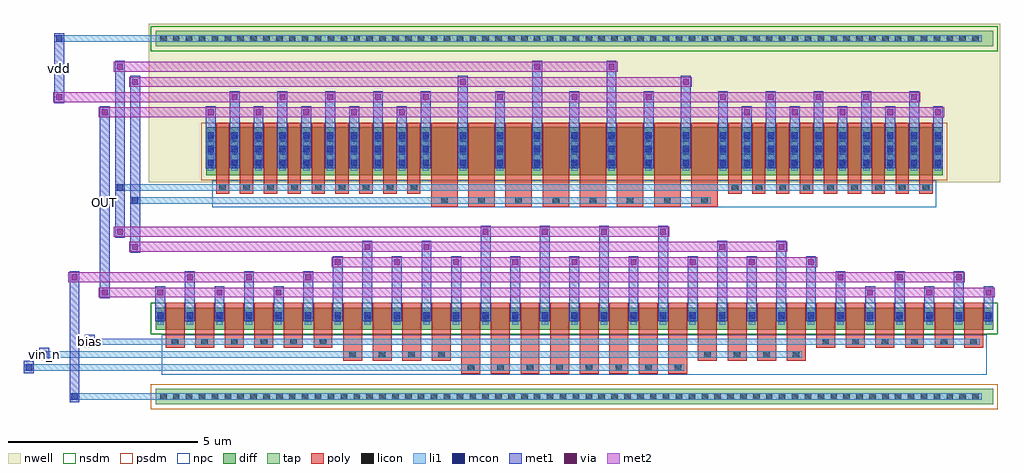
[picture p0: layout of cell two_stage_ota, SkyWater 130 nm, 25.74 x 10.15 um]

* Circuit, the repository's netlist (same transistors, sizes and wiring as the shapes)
* two_stage_ota -- hand design (2026-11-07) for LVS. Devices from two_stage_ota_design_for_layout.json:
* W = m * w_s (fingers merged in parallel by the LVS netlist simplify), body nmos = gnd, pmos = vdd.
* Cc and Rz are not in this layout pass (see two_stage_ota_gds_drc_lvs.md), so they are not in this netlist.
.SUBCKT two_stage_ota vdd gnd vin_n vin_p OUT bias
M1 D3 vin_n CS gnd sky130_fd_pr__nfet_01v8 w=4.64u l=0.5u
M2 O1 vin_p CS gnd sky130_fd_pr__nfet_01v8 w=4.64u l=0.5u
M5 CS bias gnd gnd sky130_fd_pr__nfet_01v8 w=1.16u l=0.5u
M7 OUT bias gnd gnd sky130_fd_pr__nfet_01v8 w=5.8u l=0.5u
M3 D3 D3 vdd vdd sky130_fd_pr__pfet_01v8 w=5.04u l=0.7u
M4 O1 D3 vdd vdd sky130_fd_pr__pfet_01v8 w=5.04u l=0.7u
M6 OUT O1 vdd vdd sky130_fd_pr__pfet_01v8 w=22.68u l=0.35u
.ENDS

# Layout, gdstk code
import gdstk
lib = gdstk.Library(unit=1e-6, precision=1e-09)
def R(c, l, rs):  # rectangles x0, y0, x1, y1
    for r in rs: c.add(gdstk.rectangle(r[:2], r[2:], *l))
def A(c, l, x, y, w, h, nx, ny, dx, dy):  # array of equal rectangles
    R(c, l, [(x+i*dx, y+j*dy, x+i*dx+w, y+j*dy+h) for i in range(nx) for j in range(ny)])
nwell = (64, 20)
diff = (65, 20)
tap = (65, 44)
poly = (66, 20)
licon = (66, 44)
li1 = (67, 20)
mcon = (67, 44)
met1 = (68, 20)
via = (68, 44)
met2 = (69, 20)
nsdm = (93, 44)
psdm = (94, 20)
npc = (95, 20)

two_stage_ota = lib.new_cell('two_stage_ota')
R(two_stage_ota, nwell, [(-0.18,5.86,22.27,10.03)])
R(two_stage_ota, diff, [(0,1.97,22.09,2.55), (1.33,6.04,20.76,7.3)])
R(two_stage_ota, tap, [(0,0,22.09,0.41), (0,9.44,22.09,9.85)])
A(two_stage_ota, poly, 8.065, 0.805, 0.5, 1.875, 8, 1, 0.78, 0)
A(two_stage_ota, poly, 4.945, 1.145, 0.5, 1.535, 4, 1, 0.78, 0)
A(two_stage_ota, poly, 14.305, 1.145, 0.5, 1.535, 4, 1, 0.78, 0)
A(two_stage_ota, poly, 0.265, 1.485, 0.5, 1.195, 6, 1, 0.78, 0)
A(two_stage_ota, poly, 17.425, 1.485, 0.5, 1.195, 6, 1, 0.78, 0)
A(two_stage_ota, poly, 7.265, 5.215, 0.7, 2.215, 8, 1, 0.98, 0)
A(two_stage_ota, poly, 1.595, 5.555, 0.35, 1.875, 9, 1, 0.63, 0)
A(two_stage_ota, poly, 15.105, 5.555, 0.35, 1.875, 9, 1, 0.63, 0)
A(two_stage_ota, licon, 0.12, 0.12, 0.17, 0.17, 64, 2, 0.34, 9.44)
A(two_stage_ota, licon, 8.23, 0.885, 0.17, 0.17, 8, 1, 0.78, 0)
A(two_stage_ota, licon, 5.11, 1.225, 0.17, 0.17, 4, 1, 0.78, 0)
A(two_stage_ota, licon, 14.47, 1.225, 0.17, 0.17, 4, 1, 0.78, 0)
A(two_stage_ota, licon, 0.43, 1.565, 0.17, 0.17, 6, 1, 0.78, 0)
A(two_stage_ota, licon, 17.59, 1.565, 0.17, 0.17, 6, 1, 0.78, 0)
A(two_stage_ota, licon, 0.04, 2.175, 0.17, 0.17, 29, 1, 0.78, 0)
A(two_stage_ota, licon, 7.53, 5.295, 0.17, 0.17, 8, 1, 0.98, 0)
A(two_stage_ota, licon, 1.685, 5.635, 0.17, 0.17, 9, 1, 0.63, 0)
A(two_stage_ota, licon, 15.195, 5.635, 0.17, 0.17, 9, 1, 0.63, 0)
A(two_stage_ota, licon, 1.37, 6.245, 0.17, 0.17, 10, 3, 0.63, 0.34)
A(two_stage_ota, licon, 8.02, 6.245, 0.17, 0.17, 8, 3, 0.98, 0.34)
A(two_stage_ota, licon, 15.51, 6.245, 0.17, 0.17, 9, 3, 0.63, 0.34)
A(two_stage_ota, li1, 0.04, 2.095, 0.17, 0.33, 29, 1, 0.78, 0)
A(two_stage_ota, li1, 1.37, 6.165, 0.17, 1.01, 10, 1, 0.63, 0)
A(two_stage_ota, li1, 8.02, 6.165, 0.17, 1.01, 8, 1, 0.98, 0)
A(two_stage_ota, li1, 15.51, 6.165, 0.17, 1.01, 9, 1, 0.63, 0)
R(two_stage_ota, li1, [(-2.27,0.12,21.79,0.29), (-3.47,0.885,13.94,1.055), (-3.07,1.225,17.06,1.395), (-1.87,1.565,21.74,1.735), (-0.67,5.295,14.64,5.465), (-1.07,5.635,20.485,5.805), (-2.67,9.56,21.79,9.73)])
A(two_stage_ota, mcon, 0.04, 2.255, 0.17, 0.17, 29, 1, 0.78, 0)
A(two_stage_ota, mcon, 1.37, 6.285, 0.17, 0.17, 10, 3, 0.63, 0.36)
A(two_stage_ota, mcon, 8.02, 6.285, 0.17, 0.17, 8, 3, 0.98, 0.36)
A(two_stage_ota, mcon, 15.51, 6.285, 0.17, 0.17, 9, 3, 0.63, 0.36)
R(two_stage_ota, mcon, [(-2.225,0.12,-2.055,0.29), (-3.425,0.885,-3.255,1.055), (-3.025,1.225,-2.855,1.395), (-1.825,1.565,-1.655,1.735), (-0.625,5.295,-0.455,5.465), (-1.025,5.635,-0.855,5.805), (-2.625,9.56,-2.455,9.73)])
A(two_stage_ota, met1, -0.005, 2.195, 0.26, 0.915, 3, 1, 1.56, 0)
A(two_stage_ota, met1, 0.775, 2.195, 0.26, 1.315, 3, 1, 1.56, 0)
A(two_stage_ota, met1, 4.675, 2.195, 0.26, 1.715, 9, 1, 1.56, 0)
A(two_stage_ota, met1, 8.575, 2.195, 0.26, 2.515, 4, 1, 1.56, 0)
A(two_stage_ota, met1, 17.935, 2.195, 0.26, 1.315, 3, 1, 1.56, 0)
A(two_stage_ota, met1, 18.715, 2.195, 0.26, 0.915, 3, 1, 1.56, 0)
A(two_stage_ota, met1, 1.325, 6.225, 0.26, 1.635, 5, 1, 1.26, 0)
A(two_stage_ota, met1, 1.955, 6.225, 0.26, 2.035, 5, 1, 1.26, 0)
A(two_stage_ota, met1, 8.955, 6.225, 0.26, 2.035, 4, 1, 1.96, 0)
A(two_stage_ota, met1, 15.465, 6.225, 0.26, 1.635, 5, 1, 1.26, 0)
A(two_stage_ota, met1, 16.095, 6.225, 0.26, 2.035, 4, 1, 1.26, 0)
R(two_stage_ota, met1, [(-2.27,0.06,-2.01,3.51), (-3.47,0.825,-3.21,1.15), (-3.07,1.165,-2.81,1.49), (-1.87,1.505,-1.61,1.83), (5.455,2.195,5.715,4.31), (7.015,2.195,7.275,4.31), (14.815,2.195,15.075,4.31), (16.375,2.195,16.635,4.31), (-1.47,2.79,-1.21,7.86), (-0.67,3.99,-0.41,8.66), (-1.07,4.39,-0.81,9.06), (7.975,6.225,8.235,8.66), (9.935,6.225,10.195,9.06), (11.895,6.225,12.155,9.06), (13.855,6.225,14.115,8.66), (-2.67,7.94,-2.41,9.79)])
A(two_stage_ota, via, 0.05, 2.875, 0.15, 0.15, 3, 1, 1.56, 0)
A(two_stage_ota, via, 18.77, 2.875, 0.15, 0.15, 3, 1, 1.56, 0)
A(two_stage_ota, via, 0.83, 3.275, 0.15, 0.15, 3, 1, 1.56, 0)
A(two_stage_ota, via, 17.99, 3.275, 0.15, 0.15, 3, 1, 1.56, 0)
A(two_stage_ota, via, 4.73, 3.675, 0.15, 0.15, 9, 1, 1.56, 0)
A(two_stage_ota, via, 8.63, 4.475, 0.15, 0.15, 4, 1, 1.56, 0)
A(two_stage_ota, via, 1.38, 7.625, 0.15, 0.15, 5, 1, 1.26, 0)
A(two_stage_ota, via, 15.52, 7.625, 0.15, 0.15, 5, 1, 1.26, 0)
A(two_stage_ota, via, 2.01, 8.025, 0.15, 0.15, 5, 1, 1.26, 0)
A(two_stage_ota, via, 9.01, 8.025, 0.15, 0.15, 4, 1, 1.96, 0)
A(two_stage_ota, via, 16.15, 8.025, 0.15, 0.15, 4, 1, 1.26, 0)
R(two_stage_ota, via, [(-1.415,2.875,-1.265,3.025), (-2.215,3.275,-2.065,3.425), (-0.615,4.075,-0.465,4.225), (5.51,4.075,5.66,4.225), (7.07,4.075,7.22,4.225), (14.87,4.075,15.02,4.225), (16.43,4.075,16.58,4.225), (-1.015,4.475,-0.865,4.625), (-1.415,7.625,-1.265,7.775), (-2.615,8.025,-2.465,8.175), (-0.615,8.425,-0.465,8.575), (8.03,8.425,8.18,8.575), (13.91,8.425,14.06,8.575), (-1.015,8.825,-0.865,8.975), (9.99,8.825,10.14,8.975), (11.95,8.825,12.1,8.975)])
R(two_stage_ota, met2, [(-1.5,2.82,22.125,3.08), (-2.3,3.22,21.345,3.48), (4.645,3.62,17.445,3.88), (-0.7,4.02,16.665,4.28), (-1.1,4.42,13.545,4.68), (-1.5,7.57,20.795,7.83), (-2.7,7.97,20.165,8.23), (-0.7,8.37,14.145,8.63), (-1.1,8.77,12.185,9.03)])
R(two_stage_ota, nsdm, [(-0.125,1.845,22.215,2.675), (-0.125,9.315,22.215,9.975)])
R(two_stage_ota, psdm, [(-0.125,-0.125,22.215,0.535), (1.205,5.915,20.885,7.425)])
R(two_stage_ota, npc, [(0.165,0.785,21.925,1.835), (1.495,5.195,20.595,5.905)])
two_stage_ota.add(gdstk.Label('OUT', (-1.34,5.325), layer=68, texttype=5))
two_stage_ota.add(gdstk.Label('bias', (-1.74,1.665), layer=68, texttype=5))
two_stage_ota.add(gdstk.Label('gnd', (-2.14,1.785), layer=68, texttype=5))
two_stage_ota.add(gdstk.Label('vdd', (-2.54,8.865), layer=68, texttype=5))
two_stage_ota.add(gdstk.Label('vin_n', (-2.94,1.325), layer=68, texttype=5))
two_stage_ota.add(gdstk.Label('vin_p', (-3.34,0.985), layer=68, texttype=5))

lib.write_gds('two_stage_ota.gds')
